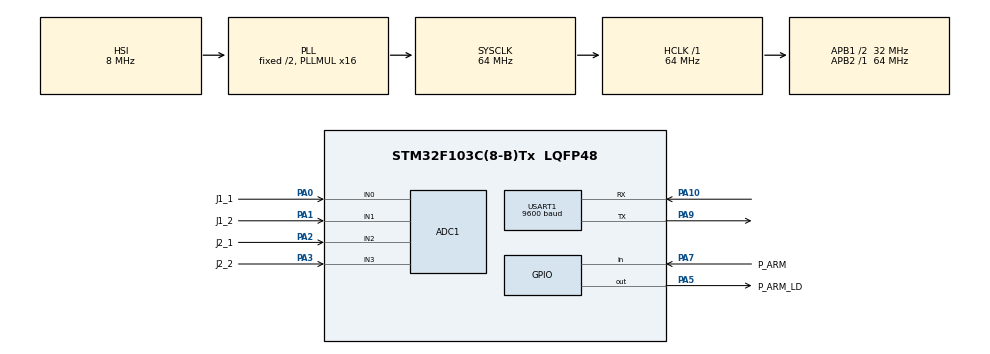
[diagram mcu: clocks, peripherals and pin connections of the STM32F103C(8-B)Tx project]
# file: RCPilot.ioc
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ADC1.Channel-0\#ChannelRegularConversion=ADC_CHANNEL_0
ADC1.Channel-1\#ChannelRegularConversion=ADC_CHANNEL_1
ADC1.Channel-2\#ChannelRegularConversion=ADC_CHANNEL_2
ADC1.Channel-3\#ChannelRegularConversion=ADC_CHANNEL_3
ADC1.ContinuousConvMode=ENABLE
ADC1.NbrOfConversion=4
ADC1.NbrOfConversionFlag=1
ADC1.Rank-0\#ChannelRegularConversion=1
ADC1.Rank-1\#ChannelRegularConversion=2
ADC1.Rank-2\#ChannelRegularConversion=3
ADC1.Rank-3\#ChannelRegularConversion=4
ADC1.SamplingTime-0\#ChannelRegularConversion=ADC_SAMPLETIME_71CYCLES_5
ADC1.SamplingTime-1\#ChannelRegularConversion=ADC_SAMPLETIME_71CYCLES_5
ADC1.SamplingTime-2\#ChannelRegularConversion=ADC_SAMPLETIME_71CYCLES_5
ADC1.SamplingTime-3\#ChannelRegularConversion=ADC_SAMPLETIME_71CYCLES_5
ADC1.master=1
Dma.ADC1.0.Direction=DMA_PERIPH_TO_MEMORY
Dma.ADC1.0.Instance=DMA1_Channel1
Dma.ADC1.0.MemDataAlignment=DMA_MDATAALIGN_HALFWORD
Dma.ADC1.0.MemInc=DMA_MINC_ENABLE
Dma.ADC1.0.Mode=DMA_CIRCULAR
Dma.ADC1.0.PeriphDataAlignment=DMA_PDATAALIGN_HALFWORD
Dma.ADC1.0.PeriphInc=DMA_PINC_DISABLE
Dma.ADC1.0.Priority=DMA_PRIORITY_LOW
Dma.Request0=ADC1
Dma.Request1=USART1_TX
Dma.USART1_TX.1.Direction=DMA_MEMORY_TO_PERIPH
Dma.USART1_TX.1.Instance=DMA1_Channel4
Dma.USART1_TX.1.MemDataAlignment=DMA_MDATAALIGN_BYTE
Dma.USART1_TX.1.MemInc=DMA_MINC_ENABLE
Dma.USART1_TX.1.Mode=DMA_NORMAL
Dma.USART1_TX.1.PeriphDataAlignment=DMA_PDATAALIGN_BYTE
Dma.USART1_TX.1.PeriphInc=DMA_PINC_DISABLE
Dma.USART1_TX.1.Priority=DMA_PRIORITY_LOW
Mcu.Family=STM32F1
Mcu.Name=STM32F103C(8-B)Tx
Mcu.Package=LQFP48
NVIC.DMA1_Channel1_IRQn=true\:0\:0\:false\:false\:true\:false\:true\:true
NVIC.DMA1_Channel4_IRQn=true\:0\:0\:false\:false\:true\:false\:true\:true
NVIC.PriorityGroup=NVIC_PRIORITYGROUP_4
NVIC.TIM2_IRQn=true\:5\:0\:true\:false\:true\:true\:true\:true
NVIC.USART1_IRQn=true\:5\:0\:true\:false\:true\:true\:true\:true
PA0-WKUP.GPIO_Label=J1_1
PA0-WKUP.Signal=ADCx_IN0
PA1.GPIO_Label=J1_2
PA1.Signal=ADCx_IN1
PA10.Mode=Asynchronous
PA10.Signal=USART1_RX
PA13.Mode=Serial_Wire
PA13.Signal=SYS_JTMS-SWDIO
PA14.Mode=Serial_Wire
PA14.Signal=SYS_JTCK-SWCLK
PA2.GPIO_Label=J2_1
PA2.Signal=ADCx_IN2
PA3.GPIO_Label=J2_2
PA3.Signal=ADCx_IN3
PA5.GPIO_Label=P_ARM_LD
PA5.Signal=GPIO_Output
PA7.GPIO_Label=P_ARM
PA7.GPIO_PuPd=GPIO_PULLUP
PA7.Signal=GPIO_Input
PA9.Mode=Asynchronous
PA9.Signal=USART1_TX
ProjectManager.HeapSize=0x200
ProjectManager.StackSize=0x400
ProjectManager.TargetToolchain=STM32CubeIDE
RCC.ADCPresc=RCC_ADCPCLK2_DIV6
RCC.AHBFreq_Value=64000000
RCC.APB1CLKDivider=RCC_HCLK_DIV2
RCC.APB1Freq_Value=32000000
RCC.APB1TimFreq_Value=64000000
RCC.APB2Freq_Value=64000000
RCC.APB2TimFreq_Value=64000000
RCC.HCLKFreq_Value=64000000
RCC.PLLMUL=RCC_PLL_MUL16
RCC.SYSCLKFreq_VALUE=64000000
RCC.SYSCLKSource=RCC_SYSCLKSOURCE_PLLCLK
RCC.USBFreq_Value=64000000
SH.ADCx_IN0.0=ADC1_IN0,IN0
SH.ADCx_IN1.0=ADC1_IN1,IN1
SH.ADCx_IN2.0=ADC1_IN2,IN2
SH.ADCx_IN3.0=ADC1_IN3,IN3
TIM2.Period=999
TIM2.Prescaler=63999
USART1.BaudRate=9600
USART1.VirtualMode=VM_ASYNC
VP_TIM2_VS_ClockSourceINT.Mode=Internal
board=custom

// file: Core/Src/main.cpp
/* USER CODE BEGIN Header */
/**
  ******************************************************************************
  * @file           : main.c
  * @brief          : Main program body
  ******************************************************************************
  * @attention
  *
  * Copyright (c) 2025 STMicroelectronics.
  * All rights reserved.
  *
  * This software is licensed under terms that can be found in the LICENSE file
  * in the root directory of this software component.
  * If no LICENSE file comes with this software, it is provided AS-IS.
  *
  ******************************************************************************
  */
/* USER CODE END Header */
#include "main.h"

/* USER CODE BEGIN Includes */

#include <stdio.h>
#include <cstring>
#include "UartRxQueue.hpp"
#include "UartTxQueue.hpp"
#include "HalUartDriver.hpp"
#include "RangeMapper.hpp"
#include "MavlinkSender.hpp"
#include "MavlinkReceiver.hpp"
#include "MavlinkMessageHandler.hpp"

/* USER CODE END Includes */

/* USER CODE BEGIN PD */
#define ADC_JOYSTICK_CHANNELS 4

/* USER CODE END PD */

ADC_HandleTypeDef hadc1;
DMA_HandleTypeDef hdma_adc1;

TIM_HandleTypeDef htim2;

UART_HandleTypeDef huart1;
DMA_HandleTypeDef hdma_usart1_tx;

/* USER CODE BEGIN PV */

uart::HalUartDriver halDriver(&huart1);
uart::UartTxQueue uartTxQueue(halDriver);
mavlinkio::MavlinkSender mavlinkSender(uartTxQueue);

uart::UartRxQueue uartRxQueue;
volatile uint8_t uart_rx_byte;

class RCMavlinkHandler : public mavlinkio::MavlinkMessageHandler {
public:
    void onMessageReceived(const mavlink_message_t& msg) override {
    	if (msg.msgid == MAVLINK_MSG_ID_COMMAND_ACK) {
			mavlink_command_ack_t ack;
			mavlink_msg_command_ack_decode(&msg, &ack);

			if (ack.command == MAV_CMD_COMPONENT_ARM_DISARM &&
				ack.result == MAV_RESULT_ACCEPTED) {
				HAL_GPIO_WritePin(P_ARM_LD_GPIO_Port, P_ARM_LD_Pin, GPIO_PIN_SET);
			}
		}
    }
};
RCMavlinkHandler handler;
mavlinkio::MavlinkReceiver mavlinkReceiver(handler);

/* USER CODE END PV */

void SystemClock_Config(void);
static void MX_GPIO_Init(void);
static void MX_DMA_Init(void);
static void MX_ADC1_Init(void);
static void MX_USART1_UART_Init(void);
static void MX_TIM2_Init(void);

/* USER CODE BEGIN 0 */

inline int16_t mapJoystickAxisWithCenter(int16_t adcValue, int16_t center) {
    constexpr int16_t ADC_MIN = 0;
    constexpr int16_t ADC_MAX = 4095;
    constexpr int16_t SCALE = 1000;
    constexpr int16_t DEADZONE = 30;

    int16_t offset = adcValue - center;

    if (std::abs(offset) < DEADZONE) {
        return 0;
    }

    if (adcValue < center) {
        return math::mapLinear<int16_t>(adcValue, ADC_MIN, center - DEADZONE, -SCALE, 0);
    } else {
        return math::mapLinear<int16_t>(adcValue, center + DEADZONE, ADC_MAX, 0, SCALE);
    }
}

inline int16_t mapJoystickAxis(int16_t adcValue) {
    constexpr int16_t DEFAULT_CENTER = 2048;
    return mapJoystickAxisWithCenter(adcValue, DEFAULT_CENTER);
}

uint16_t adcJoystickBuffer[ADC_JOYSTICK_CHANNELS];
/* USER CODE END 0 */

int main(void)
{

  /* MCU Configuration--------------------------------------------------------*/

  /* Reset of all peripherals, Initializes the Flash interface and the Systick. */
  HAL_Init();

  /* Configure the system clock */
  SystemClock_Config();

  /* Initialize all configured peripherals */
  MX_GPIO_Init();
  MX_DMA_Init();
  MX_ADC1_Init();
  MX_USART1_UART_Init();
  MX_TIM2_Init();

  /* Infinite loop */
  /* USER CODE BEGIN WHILE */

  HAL_ADCEx_Calibration_Start(&hadc1);
  HAL_ADC_Start_DMA(&hadc1, (uint32_t*)adcJoystickBuffer, ADC_JOYSTICK_CHANNELS);
  HAL_TIM_Base_Start_IT(&htim2);
  HAL_UART_Receive_IT(&huart1, (uint8_t*)&uart_rx_byte, 1);

  while (1)
  {
	  mavlinkReceiver.processRxQueue(uartRxQueue);

	  int16_t x = mapJoystickAxis(adcJoystickBuffer[0]);
	  int16_t y = mapJoystickAxis(adcJoystickBuffer[1]);
	  int16_t z = mapJoystickAxis(adcJoystickBuffer[2]);
	  int16_t r = mapJoystickAxis(adcJoystickBuffer[3]);

	  mavlinkSender.sendManualControl(mavlinkio::DRONE_ID, x, y, z, r);

	  if (HAL_GPIO_ReadPin(P_ARM_GPIO_Port, P_ARM_Pin) == GPIO_PIN_RESET) { // przycisk ARM wcisniety
		  mavlinkSender.sendArmCommand(mavlinkio::DRONE_ID, true);
	  }

	  HAL_Delay(500);
    /* USER CODE END WHILE */

  }
}

void SystemClock_Config(void)
{
  RCC_OscInitTypeDef RCC_OscInitStruct = {0};
  RCC_ClkInitTypeDef RCC_ClkInitStruct = {0};
  RCC_PeriphCLKInitTypeDef PeriphClkInit = {0};

  /** Initializes the RCC Oscillators according to the specified parameters
  * in the RCC_OscInitTypeDef structure.
  */
  RCC_OscInitStruct.OscillatorType = RCC_OSCILLATORTYPE_HSI;
  RCC_OscInitStruct.HSIState = RCC_HSI_ON;
  RCC_OscInitStruct.HSICalibrationValue = RCC_HSICALIBRATION_DEFAULT;
  RCC_OscInitStruct.PLL.PLLState = RCC_PLL_ON;
  RCC_OscInitStruct.PLL.PLLSource = RCC_PLLSOURCE_HSI_DIV2;
  RCC_OscInitStruct.PLL.PLLMUL = RCC_PLL_MUL16;
  if (HAL_RCC_OscConfig(&RCC_OscInitStruct) != HAL_OK)
  {
    Error_Handler();
  }

  /** Initializes the CPU, AHB and APB buses clocks
  */
  RCC_ClkInitStruct.ClockType = RCC_CLOCKTYPE_HCLK|RCC_CLOCKTYPE_SYSCLK
                              |RCC_CLOCKTYPE_PCLK1|RCC_CLOCKTYPE_PCLK2;
  RCC_ClkInitStruct.SYSCLKSource = RCC_SYSCLKSOURCE_PLLCLK;
  RCC_ClkInitStruct.AHBCLKDivider = RCC_SYSCLK_DIV1;
  RCC_ClkInitStruct.APB1CLKDivider = RCC_HCLK_DIV2;
  RCC_ClkInitStruct.APB2CLKDivider = RCC_HCLK_DIV1;

  if (HAL_RCC_ClockConfig(&RCC_ClkInitStruct, FLASH_LATENCY_2) != HAL_OK)
  {
    Error_Handler();
  }
  PeriphClkInit.PeriphClockSelection = RCC_PERIPHCLK_ADC;
  PeriphClkInit.AdcClockSelection = RCC_ADCPCLK2_DIV6;
  if (HAL_RCCEx_PeriphCLKConfig(&PeriphClkInit) != HAL_OK)
  {
    Error_Handler();
  }
}

static void MX_ADC1_Init(void)
{

  ADC_ChannelConfTypeDef sConfig = {0};

  /** Common config
  */
  hadc1.Instance = ADC1;
  hadc1.Init.ScanConvMode = ADC_SCAN_ENABLE;
  hadc1.Init.ContinuousConvMode = ENABLE;
  hadc1.Init.DiscontinuousConvMode = DISABLE;
  hadc1.Init.ExternalTrigConv = ADC_SOFTWARE_START;
  hadc1.Init.DataAlign = ADC_DATAALIGN_RIGHT;
  hadc1.Init.NbrOfConversion = 4;
  if (HAL_ADC_Init(&hadc1) != HAL_OK)
  {
    Error_Handler();
  }

  /** Configure Regular Channel
  */
  sConfig.Channel = ADC_CHANNEL_0;
  sConfig.Rank = ADC_REGULAR_RANK_1;
  sConfig.SamplingTime = ADC_SAMPLETIME_71CYCLES_5;
  if (HAL_ADC_ConfigChannel(&hadc1, &sConfig) != HAL_OK)
  {
    Error_Handler();
  }

  /** Configure Regular Channel
  */
  sConfig.Channel = ADC_CHANNEL_1;
  sConfig.Rank = ADC_REGULAR_RANK_2;
  if (HAL_ADC_ConfigChannel(&hadc1, &sConfig) != HAL_OK)
  {
    Error_Handler();
  }

  /** Configure Regular Channel
  */
  sConfig.Channel = ADC_CHANNEL_2;
  sConfig.Rank = ADC_REGULAR_RANK_3;
  if (HAL_ADC_ConfigChannel(&hadc1, &sConfig) != HAL_OK)
  {
    Error_Handler();
  }

  /** Configure Regular Channel
  */
  sConfig.Channel = ADC_CHANNEL_3;
  sConfig.Rank = ADC_REGULAR_RANK_4;
  if (HAL_ADC_ConfigChannel(&hadc1, &sConfig) != HAL_OK)
  {
    Error_Handler();
  }

}

static void MX_TIM2_Init(void)
{

  TIM_ClockConfigTypeDef sClockSourceConfig = {0};
  TIM_MasterConfigTypeDef sMasterConfig = {0};

  htim2.Instance = TIM2;
  htim2.Init.Prescaler = 63999;
  htim2.Init.CounterMode = TIM_COUNTERMODE_UP;
  htim2.Init.Period = 999;
  htim2.Init.ClockDivision = TIM_CLOCKDIVISION_DIV1;
  htim2.Init.AutoReloadPreload = TIM_AUTORELOAD_PRELOAD_DISABLE;
  if (HAL_TIM_Base_Init(&htim2) != HAL_OK)
  {
    Error_Handler();
  }
  sClockSourceConfig.ClockSource = TIM_CLOCKSOURCE_INTERNAL;
  if (HAL_TIM_ConfigClockSource(&htim2, &sClockSourceConfig) != HAL_OK)
  {
    Error_Handler();
  }
  sMasterConfig.MasterOutputTrigger = TIM_TRGO_RESET;
  sMasterConfig.MasterSlaveMode = TIM_MASTERSLAVEMODE_DISABLE;
  if (HAL_TIMEx_MasterConfigSynchronization(&htim2, &sMasterConfig) != HAL_OK)
  {
    Error_Handler();
  }

}

static void MX_USART1_UART_Init(void)
{

  huart1.Instance = USART1;
  huart1.Init.BaudRate = 9600;
  huart1.Init.WordLength = UART_WORDLENGTH_8B;
  huart1.Init.StopBits = UART_STOPBITS_1;
  huart1.Init.Parity = UART_PARITY_NONE;
  huart1.Init.Mode = UART_MODE_TX_RX;
  huart1.Init.HwFlowCtl = UART_HWCONTROL_NONE;
  huart1.Init.OverSampling = UART_OVERSAMPLING_16;
  if (HAL_UART_Init(&huart1) != HAL_OK)
  {
    Error_Handler();
  }

}

static void MX_DMA_Init(void)
{

  /* DMA controller clock enable */
  __HAL_RCC_DMA1_CLK_ENABLE();

  /* DMA interrupt init */
  /* DMA1_Channel1_IRQn interrupt configuration */
  HAL_NVIC_SetPriority(DMA1_Channel1_IRQn, 0, 0);
  HAL_NVIC_EnableIRQ(DMA1_Channel1_IRQn);
  /* DMA1_Channel4_IRQn interrupt configuration */
  HAL_NVIC_SetPriority(DMA1_Channel4_IRQn, 0, 0);
  HAL_NVIC_EnableIRQ(DMA1_Channel4_IRQn);

}

static void MX_GPIO_Init(void)
{
  GPIO_InitTypeDef GPIO_InitStruct = {0};

  /* GPIO Ports Clock Enable */
  __HAL_RCC_GPIOA_CLK_ENABLE();

  /*Configure GPIO pin Output Level */
  HAL_GPIO_WritePin(P_ARM_LD_GPIO_Port, P_ARM_LD_Pin, GPIO_PIN_RESET);

  /*Configure GPIO pin : P_ARM_LD_Pin */
  GPIO_InitStruct.Pin = P_ARM_LD_Pin;
  GPIO_InitStruct.Mode = GPIO_MODE_OUTPUT_PP;
  GPIO_InitStruct.Pull = GPIO_NOPULL;
  GPIO_InitStruct.Speed = GPIO_SPEED_FREQ_LOW;
  HAL_GPIO_Init(P_ARM_LD_GPIO_Port, &GPIO_InitStruct);

  /*Configure GPIO pin : P_ARM_Pin */
  GPIO_InitStruct.Pin = P_ARM_Pin;
  GPIO_InitStruct.Mode = GPIO_MODE_INPUT;
  GPIO_InitStruct.Pull = GPIO_PULLUP;
  HAL_GPIO_Init(P_ARM_GPIO_Port, &GPIO_InitStruct);

}

/* USER CODE BEGIN 4 */
extern "C" void HAL_UART_TxCpltCallback(UART_HandleTypeDef* huart) {
 if (huart->Instance == USART1) {
	 uartTxQueue.onTransmitComplete();
 }
}

extern "C" void HAL_TIM_PeriodElapsedCallback(TIM_HandleTypeDef *htim) {
    if (htim->Instance == TIM2)
    {
        mavlinkSender.sendHeartbeat();
    }
}
extern "C" void HAL_UART_RxCpltCallback(UART_HandleTypeDef* huart)
{
    if (huart->Instance == USART1) {
        uartRxQueue.onByteReceived(uart_rx_byte);
        if (HAL_UART_Receive_IT(huart, (uint8_t*)&uart_rx_byte, 1) != HAL_OK) {
        	mavlinkSender.sendHeartbeat();
	    }
    }
}

/* USER CODE END 4 */

void Error_Handler(void)
{
  __disable_irq();
  while (1)
  {
  }
}
